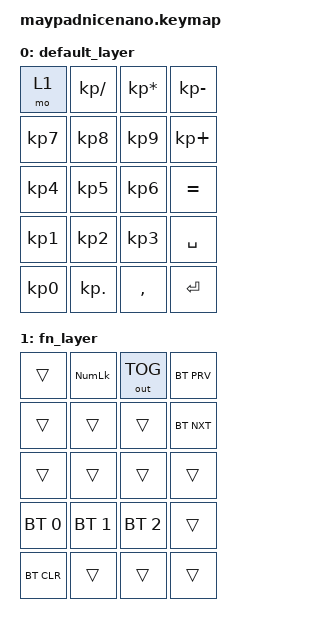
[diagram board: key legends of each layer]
#include <behaviors.dtsi>
#include <dt-bindings/zmk/bt.h>
#include <dt-bindings/zmk/keys.h>
#include <dt-bindings/zmk/outputs.h>

/ {
    keymap {
        compatible = "zmk,keymap";

// ---------------------------------------------
// | FN    | KP_SLASH | KP_ASTERISK | KP_MINUS |
// | KP_N7 | KP_N8    | KP_N9       | KP_PLUS  |
// | KP_N4 | KP_N5    | KP_N6       | KP_EQUAL |
// | KP_N1 | KP_N2    | KP_N3       | SPACE    |
// | KP_N0 | KP_DOT   | KP_COMMA    | ENTER    |
// ---------------------------------------------

        default_layer {
            bindings = <
    &mo 1     &kp KP_SLASH &kp KP_ASTERISK &kp KP_MINUS    
    &kp KP_N7 &kp KP_N8    &kp KP_N9       &kp KP_PLUS    
    &kp KP_N4 &kp KP_N5    &kp KP_N6       &kp EQUAL     
    &kp KP_N1 &kp KP_N2    &kp KP_N3       &kp SPACE
    &kp KP_N0 &kp KP_DOT   &kp COMMA       &kp ENTER     
            >;
        };
		
// ---------------------------------------------
// |       | NUMLOCK  | OUT_TOG     | BT_PRV   |
// |       |          |             | BT_NXT   |
// |       |          |             |          |
// | BT-0  | BT-1     | BT-2        |          |
// | BT CLR|          |             |          |
// ---------------------------------------------

        fn_layer {
            bindings = <
    &trans       &kp KP_NUMLOCK  &out OUT_TOG &bt BT_PRV    
    &trans       &trans          &trans       &bt BT_NXT    
    &trans       &trans          &trans       &trans     
    &bt BT_SEL 0 &bt BT_SEL 1    &bt BT_SEL 2 &trans     
    &bt BT_CLR   &trans          &trans       &trans
            >;
        };

    };
};

